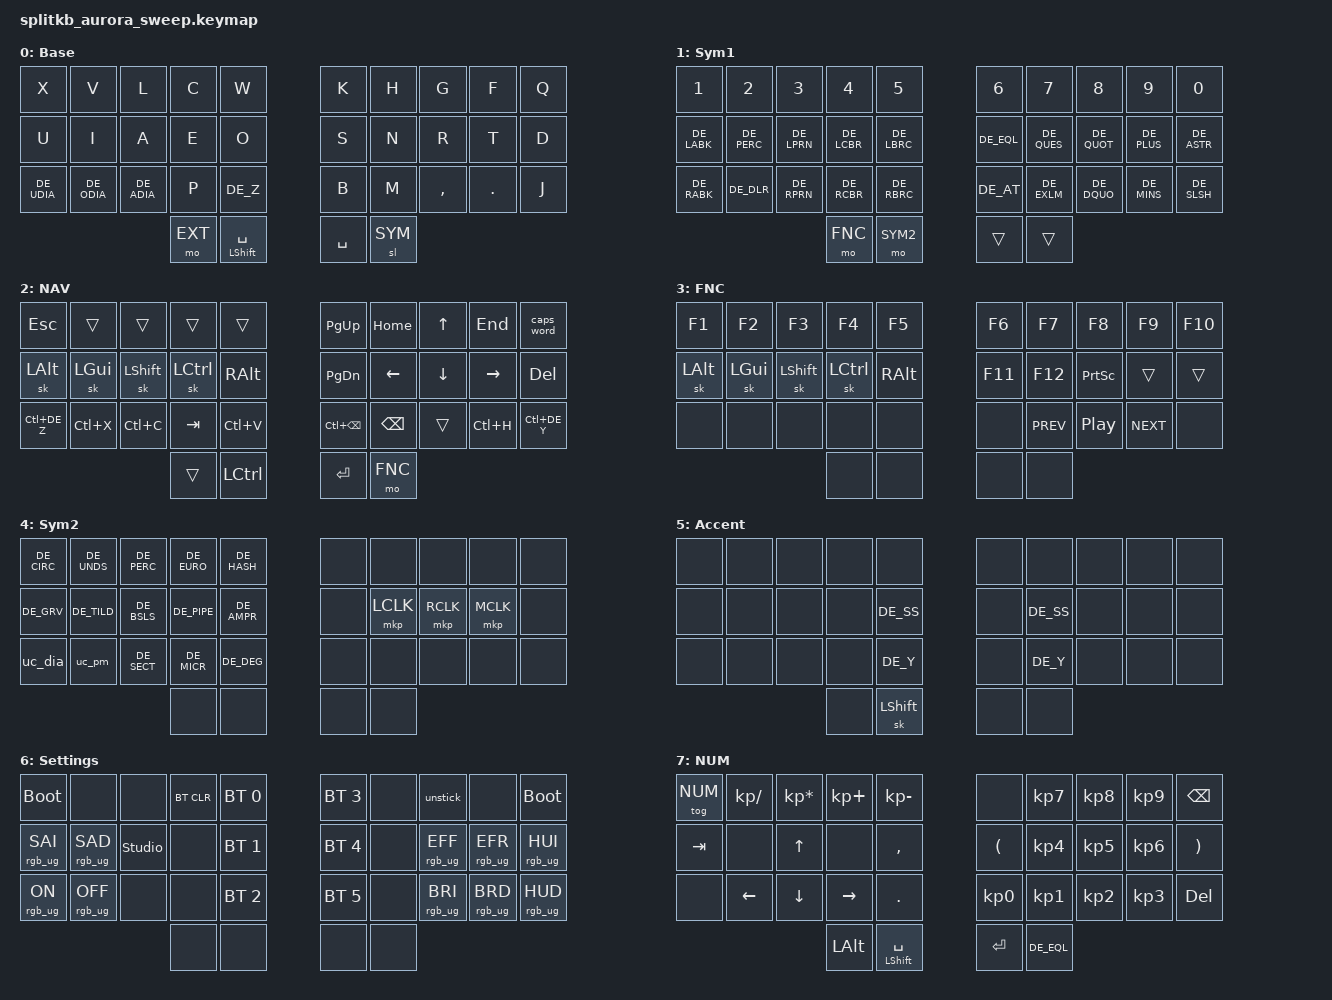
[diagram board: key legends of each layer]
/*
 * Copyright (c) 2022 The ZMK Contributors
 *
 * SPDX-License-Identifier: MIT
 */

#include <behaviors.dtsi>
#include "keys_de.h"                // information found on: https://github.com/zmkfirmware/zmk/issues/177#issuecomment-1306247821
#include <dt-bindings/zmk/keys.h>
#include <dt-bindings/zmk/bt.h>
#include <dt-bindings/zmk/mouse.h>  // include mouse actions
#include <dt-bindings/zmk/rgb.h>    // include rgb
#include <dt-bindings/zmk/ext_power.h>      // include external power management

// move nice!view CS pin to P1.01: https://nicekeyboards.com/docs/nice-nano/pinout-schematic/
// recommended on: https://discordapp.com/channels/574598631399751680/1139169271168114811

&nice_view_spi {
    cs-gpios = <&gpio1 1 GPIO_ACTIVE_HIGH>;
};

// 17 + 6 LEDs, from https://docs.splitkb.com/hc/en-us/articles/6485468787100-Aurora-Sweep-schematics
// 6 backlight LEDs were not soldered so only 17 per side and according to https://zmk.dev/docs/features/lighting it should be set to installed LED per half
&led_strip {
    chain-length = <17>;
};

//Layer definitions
// Most of it copied from: https://github.com/duckyb/zmk-sweep/blob/main/config/cradio.keymap

#define BASE 0
#define SYM 1
#define EXT 2
#define FNC 3
#define SYM2 4
#define ACCENT 5 // Not used in german language. In qwertz always typed by using acute/grave and letter
#define SETTINGS 6
#define NUM 7

&mt {
  //  flavor = "tap-preferred";
   // tapping_term_ms = <200>;
};

&caps_word {
    continue-list = <UNDERSCORE MINUS>;
};

&sk {
    ignore-modifiers;
};

/ {
    macros {
        // sometimes my device thinks a modifier is being held down
        // pressing all modifiers fixes it.

        unstick: unstick {
            //label = "ZM_unstick";
            compatible = "zmk,behavior-macro";
            #binding-cells = <0>;
            bindings = <&kp LSHIFT &kp RSHIFT &kp LCTRL &kp RCTRL &kp LALT &kp RALT &kp LGUI &kp RGUI>;
        };

        uc_pm: uc_pm {
            //label = "ZM_plus_minus";
            compatible = "zmk,behavior-macro";
            #binding-cells = <0>;
            wait-ms = <30>;
            tap-ms = <40>;
            bindings = 
                <&macro_press   &kp LALT>,
                <&macro_tap     &kp KP_N0 &kp KP_N1 &kp KP_N7 &kp KP_N7>,
                <&macro_release &kp LALT>;
        };

        uc_dia: uc_dia {
            //label = "ZM_dia";
            compatible = "zmk,behavior-macro";
            #binding-cells = <0>;
            wait-ms = <30>;
            tap-ms = <40>;
            bindings = 
                <&macro_press   &kp LALT>,
                <&macro_tap     &kp KP_N0 &kp KP_N2 &kp KP_N1 &kp KP_N6>,
                <&macro_release &kp LALT>;
        };
    };

    combos {
        compatible = "zmk,combos";

        combo_accent {
            timeout-ms = <300>;
            key-positions = <32 33>;// both right thumb keys
            bindings = <&mo 5>;// Not used in german language. In qwertz always typed by using acute/grave and letter>;
        };

        combo_sym2 {
            timeout-ms = <300>;
            key-positions = <31 33>;// internal-left & external-right thumb keys
            bindings = <&mo 4>;
        };

        combo_settings {
            timeout-ms = <300>;
            key-positions = <30 32>;// external-left & internal right thumb keys
            bindings = <&mo 6>;
        };

        combo_numpad {
            timeout-ms = <300>;
            key-positions = <30 31>;// both left thumb keys
            bindings = <&tog 7>;
        };
    };

    keymap {
        compatible = "zmk,keymap";

        // Base alpha layer (based on Neo2)
        //                    | X | V | L | C | W |    | K | H | G | F | Q | (ß)
        //                    | U | I | A | E | O |    | S | N | R | T | D | (y)
        //                    | Ü | Ö | Ä | P | Z |    | B | M | , | . | J |
        //               | mo(EXT) | mt(lsft,spc) |    | spc | sl(SYM) | 
        // &lt(layer,keycode) -> Activates the layer when held, and sends the keycode when tapped.
        // &mo(layer) -> activates the layer when held, and returns you back to the layer you came from when you release the key
        // &sl(layer) -> activates the layer when pressed until another key is pressed (no holding required)
        // &trans -> transparent behavior simply ignores key position presses/releases, so the will be passed down to the next active layer in the stack

        default_layer {
            display-name = "Base";
            bindings = <
            // ╭─────────────┬─────────────┬─────────────┬─────────────┬─────────────╮   ╭─────────────┬─────────────┬─────────────┬─────────────┬─────────────╮
                &kp X         &kp V         &kp L         &kp C         &kp W             &kp K         &kp H         &kp G         &kp F         &kp Q
            // ├─────────────┼─────────────┼─────────────┼─────────────┼─────────────┤   ├─────────────┼─────────────┼─────────────┼─────────────┼─────────────┤
                &kp U         &kp I         &kp A         &kp E         &kp O             &kp S         &kp N         &kp R         &kp T         &kp D
            // ├─────────────┼─────────────┼─────────────┼─────────────┼─────────────┤   ├─────────────┼─────────────┼─────────────┼─────────────┼─────────────┤
                &kp DE_UDIA   &kp DE_ODIA   &kp DE_ADIA   &kp P         &kp DE_Z          &kp B         &kp M         &kp COMMA     &kp DOT       &kp J
            // ╰─────────────┴─────────────┴─────────────┼─────────────┼─────────────┤   ├─────────────┼─────────────┼─────────────┴─────────────┴─────────────╯
                                                          &mo EXT       &mt LSHIFT SPACE  &kp SPACE     &sl SYM
            //                                           ╰─────────────┴─────────────╯   ╰─────────────┴─────────────╯
            >;
        };

        // Numbers and high frequency symbols

        sym_layer {
            display-name = "Sym1";
            bindings = <
            // ╭─────────────┬─────────────┬─────────────┬─────────────┬─────────────╮   ╭─────────────┬─────────────┬─────────────┬─────────────┬─────────────╮
                &kp N1        &kp N2        &kp N3        &kp N4        &kp N5            &kp N6        &kp N7        &kp N8        &kp N9        &kp N0
            // ├─────────────┼─────────────┼─────────────┼─────────────┼─────────────┤   ├─────────────┼─────────────┼─────────────┼─────────────┼─────────────┤
                &kp DE_LABK   &kp DE_PERC   &kp DE_LPRN   &kp DE_LCBR   &kp DE_LBRC       &kp DE_EQL    &kp DE_QUES   &kp DE_QUOT   &kp DE_PLUS   &kp DE_ASTR
            // ├─────────────┼─────────────┼─────────────┼─────────────┼─────────────┤   ├─────────────┼─────────────┼─────────────┼─────────────┼─────────────┤
                &kp DE_RABK   &kp DE_DLR    &kp DE_RPRN   &kp DE_RCBR   &kp DE_RBRC       &kp DE_AT     &kp DE_EXLM   &kp DE_DQUO   &kp DE_MINS   &kp DE_SLSH
            // ╰─────────────┴─────────────┴─────────────┼─────────────┼─────────────┤   ├─────────────┼─────────────┼─────────────┴─────────────┴─────────────╯
                                                          &mo FNC       &mo SYM2          &trans        &trans
            //                                           ╰─────────────┴─────────────╯   ╰─────────────┴─────────────╯
            >;
        };

        // Main modifiers and arrow keys

        ext_layer {
            display-name = "NAV";
            bindings = <
            // ╭─────────────┬─────────────┬─────────────┬─────────────┬─────────────╮   ╭─────────────┬─────────────┬─────────────┬─────────────┬─────────────╮
                &kp ESC       &trans        &trans        &trans        &trans            &kp PG_UP     &kp HOME      &kp UP        &kp END       &caps_word
            // ├─────────────┼─────────────┼─────────────┼─────────────┼─────────────┤   ├─────────────┼─────────────┼─────────────┼─────────────┼─────────────┤
                &sk LALT      &sk LGUI      &sk LSHIFT    &sk LCTRL     &kp RALT          &kp PG_DN     &kp LEFT      &kp DOWN      &kp RIGHT     &kp DEL
            // ├─────────────┼─────────────┼─────────────┼─────────────┼─────────────┤   ├─────────────┼─────────────┼─────────────┼─────────────┼─────────────┤
                &kp LC(DE_Z)  &kp LC(X)     &kp LC(C)     &kp TAB       &kp LC(V)         &kp LC(BSPC)  &kp BSPC      &trans        &kp LC(H)     &kp LC(DE_Y)
            // ╰─────────────┴─────────────┴─────────────┼─────────────┼─────────────┤   ├─────────────┼─────────────┼─────────────┴─────────────┴─────────────╯
                                                          &trans        &kp LCTRL         &kp ENTER     &mo FNC
            //                                           ╰─────────────┴─────────────╯   ╰─────────────┴─────────────╯
            >;
        };

        // Function keys with modifiers

        fnc_layer {
            display-name = "FNC";
            bindings = <
            // ╭─────────────┬─────────────┬─────────────┬─────────────┬─────────────╮   ╭─────────────┬─────────────┬─────────────┬─────────────┬─────────────╮
                &kp F1        &kp F2        &kp F3        &kp F4        &kp F5            &kp F6        &kp F7        &kp F8        &kp F9        &kp F10
            // ├─────────────┼─────────────┼─────────────┼─────────────┼─────────────┤   ├─────────────┼─────────────┼─────────────┼─────────────┼─────────────┤
                &sk LALT      &sk LGUI      &sk LSHIFT    &sk LCTRL     &kp RALT          &kp F11       &kp F12       &kp PSCRN     &trans        &trans
            // ├─────────────┼─────────────┼─────────────┼─────────────┼─────────────┤   ├─────────────┼─────────────┼─────────────┼─────────────┼─────────────┤
                &none         &none         &none         &none         &none             &none         &kp C_PREV    &kp C_PP      &kp C_NEXT    &none
            // ╰─────────────┴─────────────┴─────────────┼─────────────┼─────────────┤   ├─────────────┼─────────────┼─────────────┴─────────────┴─────────────╯
                                                          &none         &none             &none         &none
            //                                           ╰─────────────┴─────────────╯   ╰─────────────┴─────────────╯
            >;
        };

        // Low frequency symbols and mouse clicks

        symbols_2_layer {
            display-name = "Sym2";
            bindings = <
            // ╭─────────────┬─────────────┬─────────────┬─────────────┬─────────────╮   ╭─────────────┬─────────────┬─────────────┬─────────────┬─────────────╮
                &kp DE_CIRC   &kp DE_UNDS   &kp DE_PERC   &kp DE_EURO   &kp DE_HASH       &none         &none         &none         &none         &none
            // ├─────────────┼─────────────┼─────────────┼─────────────┼─────────────┤   ├─────────────┼─────────────┼─────────────┼─────────────┼─────────────┤
                &kp DE_GRV    &kp DE_TILD   &kp DE_BSLS   &kp DE_PIPE   &kp DE_AMPR       &none         &mkp LCLK     &mkp RCLK     &mkp MCLK     &none
            // ├─────────────┼─────────────┼─────────────┼─────────────┼─────────────┤   ├─────────────┼─────────────┼─────────────┼─────────────┼─────────────┤
                &uc_dia       &uc_pm        &kp DE_SECT   &kp DE_MICR   &kp DE_DEG        &none         &none         &none         &none         &none
            // ╰─────────────┴─────────────┴─────────────┼─────────────┼─────────────┤   ├─────────────┼─────────────┼─────────────┴─────────────┴─────────────╯
                                                          &none         &none             &none         &none
            //                                           ╰─────────────┴─────────────╯   ╰─────────────┴─────────────╯
            >;
        };

        // Used to type regional accents. Not neccessary for german, but still missing some letters, therefore y and ß have been placed here

        accent_layer {
            display-name = "Accent";
            bindings = <
            // ╭─────────────┬─────────────┬─────────────┬─────────────┬─────────────╮   ╭─────────────┬─────────────┬─────────────┬─────────────┬─────────────╮
                &none         &none         &none         &none         &none             &none         &none         &none         &none         &none
            // ├─────────────┼─────────────┼─────────────┼─────────────┼─────────────┤   ├─────────────┼─────────────┼─────────────┼─────────────┼─────────────┤
                &none         &none         &none         &none         &kp DE_SS         &none         &kp DE_SS     &none         &none         &none
            // ├─────────────┼─────────────┼─────────────┼─────────────┼─────────────┤   ├─────────────┼─────────────┼─────────────┼─────────────┼─────────────┤
                &none         &none         &none         &none         &kp DE_Y          &none         &kp DE_Y      &none         &none         &none
            // ╰─────────────┴─────────────┴─────────────┼─────────────┼─────────────┤   ├─────────────┼─────────────┼─────────────┴─────────────┴─────────────╯
                                                          &none         &sk LSHIFT        &none         &none
            //                                           ╰─────────────┴─────────────╯   ╰─────────────┴─────────────╯
            >;
        };

        // Used to change the keyboard's settings.

        settings_layer {
            display-name = "Settings";
            bindings = <
            // ╭─────────────┬─────────────┬─────────────┬─────────────┬─────────────╮   ╭─────────────┬─────────────┬─────────────┬─────────────┬─────────────╮
                &bootloader   &none         &none         &bt BT_CLR    &bt BT_SEL 0      &bt BT_SEL 3  &none         &unstick      &none         &bootloader
            // ├─────────────┼─────────────┼─────────────┼─────────────┼─────────────┤   ├─────────────┼─────────────┼─────────────┼─────────────┼─────────────┤
                &rgb_ug RGB_SAI &rgb_ug RGB_SAD &studio_unlock &none    &bt BT_SEL 1      &bt BT_SEL 4  &none         &rgb_ug RGB_EFF &rgb_ug RGB_EFR &rgb_ug RGB_HUI
            // ├─────────────┼─────────────┼─────────────┼─────────────┼─────────────┤   ├─────────────┼─────────────┼─────────────┼─────────────┼─────────────┤
                &rgb_ug RGB_ON &rgb_ug RGB_OFF &none      &none         &bt BT_SEL 2      &bt BT_SEL 5  &none         &rgb_ug RGB_BRI &rgb_ug RGB_BRD &rgb_ug RGB_HUD
            // ╰─────────────┴─────────────┴─────────────┼─────────────┼─────────────┤   ├─────────────┼─────────────┼─────────────┴─────────────┴─────────────╯
                                                          &none         &none             &none         &none
            //                                           ╰─────────────┴─────────────╯   ╰─────────────┴─────────────╯
            >;
        };

        // Numpad layer

        numpad_layer {
            display-name = "NUM";
            bindings = <
            // ╭─────────────┬─────────────┬─────────────┬─────────────┬─────────────╮   ╭─────────────┬─────────────┬─────────────┬─────────────┬─────────────╮
                &tog NUM      &kp KP_DIVIDE &kp KP_MULTIPLY &kp KP_PLUS &kp KP_MINUS      &none         &kp KP_N7     &kp KP_N8     &kp KP_N9     &kp BSPC
            // ├─────────────┼─────────────┼─────────────┼─────────────┼─────────────┤   ├─────────────┼─────────────┼─────────────┼─────────────┼─────────────┤
                &kp TAB       &none         &kp UP        &none         &kp COMMA         &kp LPAR      &kp KP_N4     &kp KP_N5     &kp KP_N6     &kp RPAR
            // ├─────────────┼─────────────┼─────────────┼─────────────┼─────────────┤   ├─────────────┼─────────────┼─────────────┼─────────────┼─────────────┤
                &none         &kp LEFT      &kp DOWN      &kp RIGHT     &kp DOT           &kp KP_N0     &kp KP_N1     &kp KP_N2     &kp KP_N3     &kp DEL
            // ╰─────────────┴─────────────┴─────────────┼─────────────┼─────────────┤   ├─────────────┼─────────────┼─────────────┴─────────────┴─────────────╯
                                                          &kp LALT      &mt LSHIFT SPACE  &kp ENTER     &kp DE_EQL
            //                                           ╰─────────────┴─────────────╯   ╰─────────────┴─────────────╯
            >;
        };
    };
};
